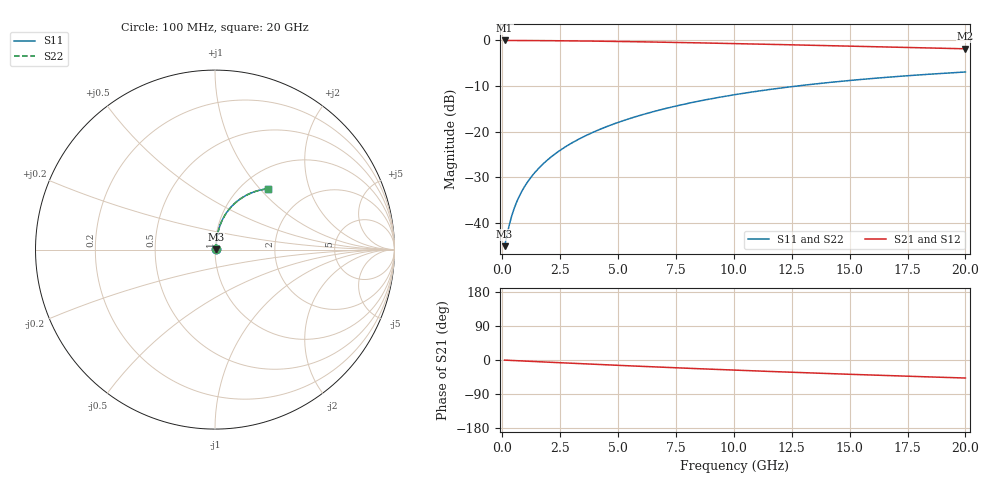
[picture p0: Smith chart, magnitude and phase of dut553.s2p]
! Touchstone file exported from HFSS 2024.1.0
!  File:  C:/UserFiles/LocalFiles/RDL_TSV_Batchsim/temp_RDL_top_553_1779681005.aedt
!  Generated:  11:52:20 AM May 25, 2026
!  Design:  RDL_top
!  Project:  temp_RDL_top_553_1779681005
!  Setup:  Setup1
!  Solution:  Sweep
! Variables:
!  dtsv = 10.80580581um
!  hbump = 3um
!  htsv = 57.55um
!  ldown = 100um
!  lrdl = 656.29um
!  p = 40
!  p1 = 50.73um
!  rhole = 1um
!  t = 450um
!  tdown = 3.915915916um
!  trdl = 2.59um
!  wdown = 15.38538539um
!  wrdl = 19.23um
# GHz S MA R 50.000000
! Terminal data exported
! Port[1] = Box2_T1
! Port[2] = Box2_T2
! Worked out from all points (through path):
!   200 points, 100 MHz to 20 GHz, reference 50 ohm
!   highest |S21| = -0.04 dB at 100 MHz (marker M1); lowest = -1.9 dB at 20 GHz (marker M2)
!   group delay of S21, straight-line fit = 6.58 ps
!   lowest |S11| = -45.1 dB at 100 MHz (marker M3), VSWR 1.01, Z = 50.5 + j0.271 ohm
!   |S11| at or under -10 dB: start of sweep to 12.77 GHz
!   |S22| runs from -45.1 to -7.0 dB; largest |S21 - S12| = 1.8e-14
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0.1  0.005545 28.9  0.9951 -0.3  0.9951 -0.3  0.005545 28.9
! Gamma 0 0 0 0
! Port Impedance 50 0 50 0
0.3  0.009446 56.8  0.9948 -0.9  0.9948 -0.9  0.009446 56.8
0.4  0.01173 62.7  0.9946 -1.2  0.9946 -1.2  0.01173 62.7
0.5  0.01406 66.6  0.9943 -1.5  0.9943 -1.5  0.01406 66.6
0.6  0.0164 69.4  0.9941 -1.8  0.9941 -1.8  0.0164 69.4
0.8  0.02111 73.0  0.9936 -2.4  0.9936 -2.4  0.02111 73.0
1  0.02584 75.4  0.993 -2.9  0.993 -2.9  0.02584 75.4
1.2  0.03061 77.0  0.9925 -3.5  0.9925 -3.5  0.03061 77.0
1.4  0.03542 78.2  0.9919 -4.1  0.9919 -4.1  0.03542 78.2
1.7  0.04268 79.3  0.9909 -4.9  0.9909 -4.9  0.04268 79.3
2.2  0.05494 80.4  0.9888 -6.3  0.9888 -6.3  0.05494 80.4
2.8  0.06983 80.8  0.9858 -8.0  0.9858 -8.0  0.06983 80.8
3.5  0.08745 80.6  0.9816 -10.0  0.9816 -10.0  0.08744 80.6
4.2  0.1053 80.0  0.9767 -11.9  0.9767 -11.9  0.1053 80.0
5  0.1258 79.0  0.9704 -14.1  0.9704 -14.1  0.1258 79.0
5.9  0.1491 77.6  0.9625 -16.5  0.9625 -16.5  0.149 77.6
6.8  0.1723 76.0  0.9539 -18.8  0.9539 -18.8  0.1723 76.0
8.4  0.213 72.8  0.9375 -22.8  0.9375 -22.8  0.213 72.8
10.1  0.2549 69.2  0.9188 -26.9  0.9188 -26.9  0.2549 69.2
13.4  0.3298 62.1  0.881 -34.3  0.881 -34.3  0.3297 62.1
16.7  0.3946 55.3  0.843 -41.2  0.843 -41.2  0.3945 55.2
20  0.4491 48.9  0.8062 -47.6  0.8062 -47.6  0.449 48.9
